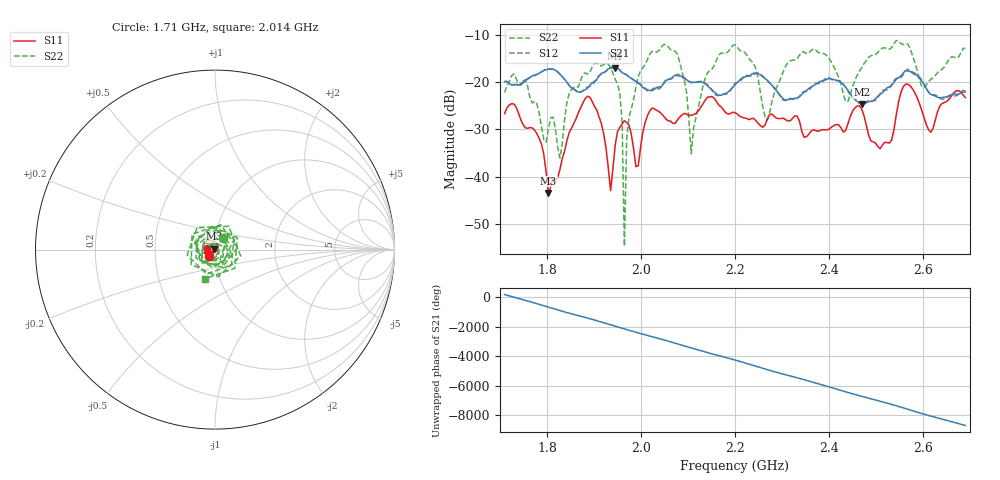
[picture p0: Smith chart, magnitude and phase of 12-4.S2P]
!Agilent Technologies,E5061B,MY49305579,A.02.22
!Date: Thu Aug 24 16:22:47 2017
!Data & Calibration Information:
!Freq	S11:SOLT2(ON)	S21:SOLT2(ON)	S12:SOLT2(ON)	S22:SOLT2(ON)
# Hz S dB R 50
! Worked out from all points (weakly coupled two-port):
!   201 points, 1.71 GHz to 2.69 GHz, reference 50 ohm
!   highest |S21| = -17.02 dB at 1.945 GHz (marker M1); lowest = -24.7 dB at 2.47 GHz (marker M2)
!   lowest |S11| = -43.4 dB at 1.803 GHz (marker M3), VSWR 1.01, Z = 49.6 + j0.55 ohm
!   |S11| at or under -10 dB: start of sweep to end of sweep
!   |S22| runs from -54.6 to -11.2 dB; largest |S21 - S12| = 0.0068
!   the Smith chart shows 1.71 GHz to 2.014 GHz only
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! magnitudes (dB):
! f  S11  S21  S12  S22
! 1.71 GHz  -26.7  -20.0  -19.8  -22.2
! 1.803 GHz  -43.4  -17.3  -17.3  -29.9
! 1.828 GHz  -38.5  -18.4  -18.3  -36.1
! 1.877 GHz  -24.4  -21.8  -21.9  -18.4
! 1.935 GHz  -42.9  -17.1  -16.9  -16.9
! 1.945 GHz  -33.3  -17.0  -17.0  -19.4
! 1.96 GHz  -28.9  -18.1  -18.0  -28.4
! 1.965 GHz  -28.2  -18.2  -18.3  -54.6
! 1.97 GHz  -28.6  -18.5  -18.5  -31.7
! 1.975 GHz  -29.1  -19.0  -19.0  -27.4
! 1.994 GHz  -37.7  -20.2  -20.2  -18.9
! 2.038 GHz  -26.2  -21.1  -21.5  -13.4
! 2.078 GHz  -28.0  -18.7  -18.4  -14.2
! 2.107 GHz  -27.0  -20.1  -20.1  -35.1
! 2.2 GHz  -26.5  -20.6  -20.3  -12.2
! 2.269 GHz  -27.8  -19.7  -19.6  -28.0
! 2.367 GHz  -30.1  -20.8  -20.6  -13.0
! 2.47 GHz  -25.7  -24.7  -24.9  -16.9
! 2.528 GHz  -32.9  -21.0  -21.4  -13.1
! 2.563 GHz  -20.5  -17.6  -17.7  -11.9
! 2.602 GHz  -27.4  -20.5  -20.4  -21.2
! 2.69 GHz  -23.3  -22.1  -21.9  -12.8
